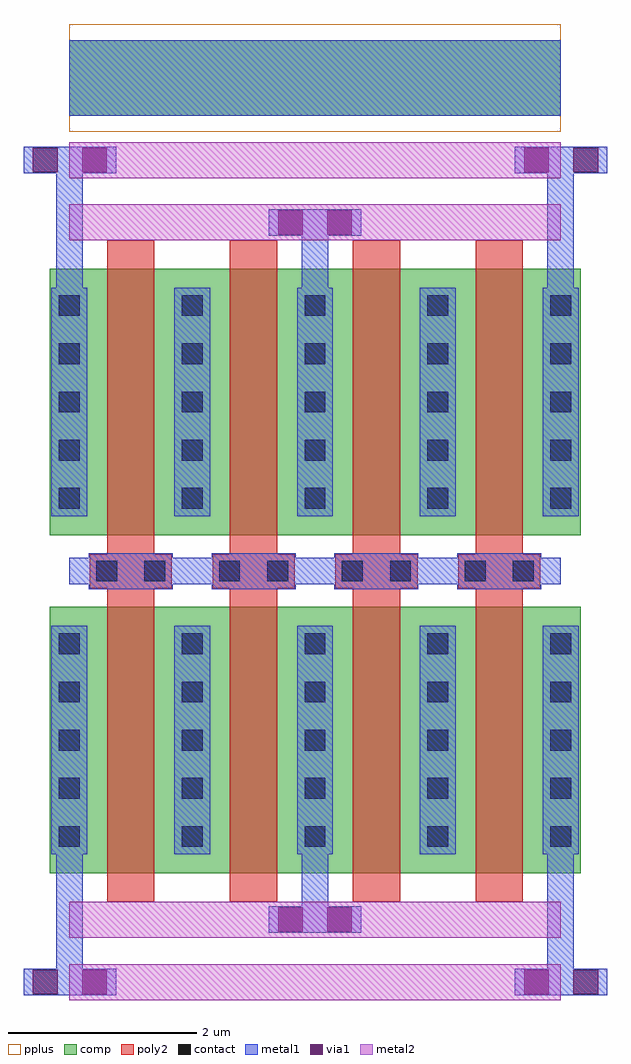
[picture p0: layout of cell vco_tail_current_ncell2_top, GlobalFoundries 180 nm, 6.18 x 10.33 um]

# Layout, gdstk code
import gdstk
lib = gdstk.Library(unit=1e-6, precision=5e-09)
def R(c, l, rs):  # rectangles x0, y0, x1, y1
    for r in rs: c.add(gdstk.rectangle(r[:2], r[2:], *l))
def A(c, l, x, y, w, h, nx, ny, dx, dy):  # array of equal rectangles
    R(c, l, [(x+i*dx, y+j*dy, x+i*dx+w, y+j*dy+h) for i in range(nx) for j in range(ny)])
comp = (22, 0)
poly2 = (30, 0)
pplus = (31, 0)
contact = (33, 0)
metal1 = (34, 0)
via1 = (35, 0)
metal2 = (36, 0)

vco_tail_current_ncell2_ = lib.new_cell('vco_tail_current_ncell2_1$1')
R(vco_tail_current_ncell2_, comp, [(0,0.3,0.42,3.12), (0.42,0.3,1.3,3.12), (1.3,0.3,1.72,3.12)])
R(vco_tail_current_ncell2_, poly2, [(0.61,0,1.11,3.42)])
A(vco_tail_current_ncell2_, contact, 0.1, 0.58, 0.22, 0.22, 1, 5, 0, 0.51)
A(vco_tail_current_ncell2_, contact, 1.4, 0.58, 0.22, 0.22, 1, 5, 0, 0.51)
R(vco_tail_current_ncell2_, metal1, [(0.02,0.5,0.4,2.92), (1.32,0.5,1.7,2.92)])

c_vco_tail_current_ncell2_ = lib.new_cell('vco_tail_current_ncell2_4')
A(c_vco_tail_current_ncell2_, poly2, 0.43, 3.32, 0.87, 0.36, 4, 1, 1.3, 0)
R(c_vco_tail_current_ncell2_, contact, [(0.5,3.39,0.72,3.61), (1.01,3.39,1.23,3.61), (1.8,3.39,2.02,3.61), (2.31,3.39,2.53,3.61), (3.1,3.39,3.32,3.61), (3.61,3.39,3.83,3.61), (4.4,3.39,4.62,3.61), (4.91,3.39,5.13,3.61)])
A(c_vco_tail_current_ncell2_, metal1, 0.42, 3.31, 0.89, 0.38, 4, 1, 1.3, 0)
c_vco_tail_current_ncell2_.add(gdstk.Reference(vco_tail_current_ncell2_, (0.005,0)))
c_vco_tail_current_ncell2_.add(gdstk.Reference(vco_tail_current_ncell2_, (1.305,0)))
c_vco_tail_current_ncell2_.add(gdstk.Reference(vco_tail_current_ncell2_, (2.605,0)))
c_vco_tail_current_ncell2_.add(gdstk.Reference(vco_tail_current_ncell2_, (3.905,0)))

c_vco_tail_current_ncell2__ = lib.new_cell('vco_tail_current_ncell2_top')
R(c_vco_tail_current_ncell2__, via1, [(0.1,0.06,0.36,0.32), (0.62,0.06,0.88,0.32), (5.3,0.06,5.56,0.32), (5.82,0.06,6.08,0.32), (2.695,0.72,2.955,0.98), (3.215,0.72,3.475,0.98), (2.695,8.1,2.955,8.36), (3.215,8.1,3.475,8.36), (0.1,8.76,0.36,9.02), (0.62,8.76,0.88,9.02), (5.3,8.76,5.56,9.02), (5.82,8.76,6.08,9.02)])
c_vco_tail_current_ncell2__.add(gdstk.FlexPath([(5.685,4.54),(0.485,4.54)], 0.28, ends="flush", simple_path=True, layer=34, datatype=0))  # metal1
c_vco_tail_current_ncell2__.add(gdstk.FlexPath([(0.485,9.76),(5.685,9.76)], 0.8, ends="flush", simple_path=True, layer=34, datatype=0))  # metal1
c_vco_tail_current_ncell2__.add(gdstk.FlexPath([(2.595,8.23),(3.575,8.23)], 0.28, ends="flush", simple_path=True, layer=34, datatype=0))  # metal1
c_vco_tail_current_ncell2__.add(gdstk.FlexPath([(3.085,7.54),(3.085,8.09)], 0.28, ends="flush", simple_path=True, layer=34, datatype=0))  # metal1
c_vco_tail_current_ncell2__.add(gdstk.FlexPath([(0,8.89),(0.98,8.89)], 0.28, ends="flush", simple_path=True, layer=34, datatype=0))  # metal1
c_vco_tail_current_ncell2__.add(gdstk.FlexPath([(0.485,7.54),(0.485,8.75)], 0.28, ends="flush", simple_path=True, layer=34, datatype=0))  # metal1
c_vco_tail_current_ncell2__.add(gdstk.FlexPath([(5.2,8.89),(6.18,8.89)], 0.28, ends="flush", simple_path=True, layer=34, datatype=0))  # metal1
c_vco_tail_current_ncell2__.add(gdstk.FlexPath([(5.685,7.54),(5.685,8.75)], 0.28, ends="flush", simple_path=True, layer=34, datatype=0))  # metal1
c_vco_tail_current_ncell2__.add(gdstk.FlexPath([(2.595,0.85),(3.575,0.85)], 0.28, ends="flush", simple_path=True, layer=34, datatype=0))  # metal1
c_vco_tail_current_ncell2__.add(gdstk.FlexPath([(3.085,1.54),(3.085,0.99)], 0.28, ends="flush", simple_path=True, layer=34, datatype=0))  # metal1
c_vco_tail_current_ncell2__.add(gdstk.FlexPath([(0,0.19),(0.98,0.19)], 0.28, ends="flush", simple_path=True, layer=34, datatype=0))  # metal1
c_vco_tail_current_ncell2__.add(gdstk.FlexPath([(0.485,1.54),(0.485,0.33)], 0.28, ends="flush", simple_path=True, layer=34, datatype=0))  # metal1
c_vco_tail_current_ncell2__.add(gdstk.FlexPath([(5.2,0.19),(6.18,0.19)], 0.28, ends="flush", simple_path=True, layer=34, datatype=0))  # metal1
c_vco_tail_current_ncell2__.add(gdstk.FlexPath([(5.685,1.54),(5.685,0.33)], 0.28, ends="flush", simple_path=True, layer=34, datatype=0))  # metal1
c_vco_tail_current_ncell2__.add(gdstk.FlexPath([(0.485,9.76),(5.685,9.76)], 0.8, ends="flush", simple_path=True, layer=22, datatype=0))  # comp
c_vco_tail_current_ncell2__.add(gdstk.FlexPath([(0.485,8.23),(5.685,8.23)], 0.38, ends="flush", simple_path=True, layer=36, datatype=0))  # metal2
c_vco_tail_current_ncell2__.add(gdstk.FlexPath([(0.485,8.89),(5.685,8.89)], 0.38, ends="flush", simple_path=True, layer=36, datatype=0))  # metal2
c_vco_tail_current_ncell2__.add(gdstk.FlexPath([(0.485,0.85),(5.685,0.85)], 0.38, ends="flush", simple_path=True, layer=36, datatype=0))  # metal2
c_vco_tail_current_ncell2__.add(gdstk.FlexPath([(0.485,0.19),(5.685,0.19)], 0.38, ends="flush", simple_path=True, layer=36, datatype=0))  # metal2
c_vco_tail_current_ncell2__.add(gdstk.FlexPath([(0.485,9.76),(5.685,9.76)], 1.14, ends="flush", simple_path=True, layer=31, datatype=0))  # pplus
c_vco_tail_current_ncell2__.add(gdstk.Reference(c_vco_tail_current_ncell2_, (0.27,1.04)))
c_vco_tail_current_ncell2__.add(gdstk.Reference(c_vco_tail_current_ncell2_, (0.27,8.04), x_reflection=True))

lib.write_gds('vco_tail_current_ncell2_top.gds')
